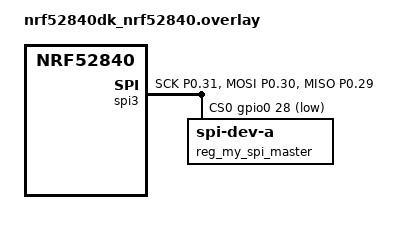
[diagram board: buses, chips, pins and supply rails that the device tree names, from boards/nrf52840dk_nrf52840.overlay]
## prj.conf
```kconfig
CONFIG_GPIO=y

CONFIG_SPI=y
CONFIG_SPI_ASYNC=y
```

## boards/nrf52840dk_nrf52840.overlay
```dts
&pinctrl {
	spi_master_default: spi_master_default {
		group1 {
			psels = <NRF_PSEL(SPIM_SCK, 0, 31)>,
					<NRF_PSEL(SPIM_MOSI, 0, 30)>,
					<NRF_PSEL(SPIM_MISO, 0, 29)>;
		};
	};

	spi_master_sleep: spi_master_sleep {
		group1 {
			psels = <NRF_PSEL(SPIM_SCK, 0, 31)>,
					<NRF_PSEL(SPIM_MOSI, 0, 30)>,
					<NRF_PSEL(SPIM_MISO, 0, 29)>;
			low-power-enable;
		};
	};

};

my_spi_master: &spi3 {
	compatible = "nordic,nrf-spim";
	status = "okay";
	pinctrl-0 = <&spi_master_default>;
	pinctrl-1 = <&spi_master_sleep>;
	pinctrl-names = "default", "sleep";
	cs-gpios = <&gpio0 28 GPIO_ACTIVE_LOW>;
	reg_my_spi_master: spi-dev-a@0 {
		reg = <0>;
	};
};

// By default uart1 will occupy P1.01 and P1.02. In order to make these pins available, disable uart1
&uart1 {
	status="disabled";
};
```

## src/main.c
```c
/*
 * Copyright (c) 2016 Intel Corporation
 *
 * SPDX-License-Identifier: Apache-2.0
 */

#include <zephyr/kernel.h>
#include <zephyr/device.h>
#include <zephyr/devicetree.h>
#include <zephyr/drivers/gpio.h>
#include <zephyr/drivers/spi.h>
#include <zephyr/logging/log.h>
#include "mfrc522.h"


/* 1000 msec = 1 sec */
#define SLEEP_TIME_MS   1000

/* The devicetree node identifier for the "led0" alias. */
#define LED0_NODE DT_ALIAS(led0)

#define MY_SPI_MASTER DT_NODELABEL(my_spi_master)
#define MY_SPI_MASTER_CS_DT_SPEC SPI_CS_GPIOS_DT_SPEC_GET(DT_NODELABEL(reg_my_spi_master))

#define MY_SPI_SLAVE  DT_NODELABEL(my_spi_slave)
LOG_MODULE_REGISTER(my_module, LOG_LEVEL_INF);
// SPI master functionality
const struct device *spi_dev;
//static struct k_poll_signal spi_done_sig = K_POLL_SIGNAL_INITIALIZER(spi_done_sig);
	static uint8_t tx_buffer[2];
	static uint8_t rx_buffer[1];
	static uint8_t tx_r_buffer[1];
	static const uint8_t m_length = 1;
	static volatile bool spi_xfer_done;
	
	const struct spi_buf tx_buf = {
		.buf = tx_buffer,
		.len = sizeof(tx_buffer)
	};
	const struct spi_buf_set tx = {
		.buffers = &tx_buf,
		.count = 1
	};

	struct spi_buf rx_buf = {
		.buf = rx_buffer,
		.len = sizeof(rx_buffer),
	};
	const struct spi_buf_set rx = {
		.buffers = &rx_buf,
		.count = 1
	};

	const struct spi_buf tx_r_buff ={
		.buf = &tx_r_buffer,
		.len = 1
	};

	const struct spi_buf_set tx_r = {
		.buffers = &tx_r_buff,
		.count = 1
	};

static void spi_init(void)
{
	spi_dev = DEVICE_DT_GET(MY_SPI_MASTER);
	if(!device_is_ready(spi_dev)) {
		printk("SPI master device not ready!\n");
	}
	struct gpio_dt_spec spim_cs_gpio = MY_SPI_MASTER_CS_DT_SPEC;
	if(!device_is_ready(spim_cs_gpio.port)){
		printk("SPI master chip select device not ready!\n");
	}
}

static struct spi_config spi_cfg = {
	.operation = SPI_WORD_SET(8) | SPI_TRANSFER_MSB | SPI_MODE_CPOL | SPI_MODE_CPHA,
	.frequency = 4000000,
	.slave = 0,
	.cs = {.gpio = MY_SPI_MASTER_CS_DT_SPEC, .delay = 0},
};

// static int spi_write_test_msg(void)
// {
// 	static uint8_t counter = 0;
// 	static uint8_t tx_buffer[2];
// 	static uint8_t rx_buffer[2];

// 	const struct spi_buf tx_buf = {
// 		.buf = tx_buffer,
// 		.len = sizeof(tx_buffer)
// 	};
// 	const struct spi_buf_set tx = {
// 		.buffers = &tx_buf,
// 		.count = 1
// 	};

// 	struct spi_buf rx_buf = {
// 		.buf = rx_buffer,
// 		.len = sizeof(rx_buffer),
// 	};
// 	const struct spi_buf_set rx = {
// 		.buffers = &rx_buf,
// 		.count = 1
// 	};

// 	// Update the TX buffer with a rolling counter
// 	tx_buffer[0] = counter++;
// 	printk("SPI TX: 0x%.2x, 0x%.2x\n", tx_buffer[0], tx_buffer[1]);

// 	// Reset signal
// 	k_poll_signal_reset(&spi_done_sig);
	
// 	// Start transaction
// 	int error = spi_transceive_signal(spi_dev, &spi_cfg, &tx, &rx, &spi_done_sig);
// 	if(error != 0){
// 		printk("SPI transceive error: %i\n", error);
// 		return error;
// 	}

// 	// Wait for the done signal to be raised and log the rx buffer
// 	int spi_signaled, spi_result;
// 	do{
// 		k_poll_signal_check(&spi_done_sig, &spi_signaled, &spi_result);
// 	} while(spi_signaled == 0);
// 	printk("SPI RX: 0x%.2x, 0x%.2x\n", rx_buffer[0], rx_buffer[1]);
// 	return 0;
// }
/*
// SPI slave functionality
const struct device *spi_slave_dev;
static struct k_poll_signal spi_slave_done_sig = K_POLL_SIGNAL_INITIALIZER(spi_slave_done_sig);

static const struct spi_config spi_slave_cfg = {
	.operation = SPI_WORD_SET(8) | SPI_TRANSFER_MSB |
				 SPI_MODE_CPOL | SPI_MODE_CPHA | SPI_OP_MODE_SLAVE,
	.frequency = 4000000,
	.slave = 0,
};

static void spi_slave_init(void)
{
	spi_slave_dev = DEVICE_DT_GET(MY_SPI_SLAVE);
	if(!device_is_ready(spi_slave_dev)) {
		printk("SPI slave device not ready!\n");
	}
	else{
		printk("Spi slave device ISS ready\n");
	}
}

static uint8_t slave_tx_buffer[2];
static uint8_t slave_rx_buffer[2];
static int spi_slave_write_test_msg(void)
{
	static uint8_t counter = 0;


	const struct spi_buf s_tx_buf = {
		.buf = slave_tx_buffer,
		.len = sizeof(slave_tx_buffer)
	};
	const struct spi_buf_set s_tx = {
		.buffers = &s_tx_buf,
		.count = 1
	};

	struct spi_buf s_rx_buf = {
		.buf = slave_rx_buffer,
		.len = sizeof(slave_rx_buffer),
	};
	const struct spi_buf_set s_rx = {
		.buffers = &s_rx_buf,
		.count = 1
	};

	// Update the TX buffer with a rolling counter
	slave_tx_buffer[1] = counter++;
	printk("SPI SLAVE TX: 0x%.2x, 0x%.2x\n", slave_tx_buffer[0], slave_tx_buffer[1]);

	// Reset signal
	k_poll_signal_reset(&spi_slave_done_sig);
	
	// Start transaction
	int error = spi_transceive_signal(spi_slave_dev, &spi_slave_cfg, &s_tx, &s_rx, &spi_slave_done_sig);
	if(error != 0){
		printk("SPI slave transceive error: %i\n", error);
		return error;
	}
	return 0;
}

static int spi_slave_check_for_message(void)
{
	int signaled, result;
	k_poll_signal_check(&spi_slave_done_sig, &signaled, &result);
	if(signaled != 0){
		return 0;
	}
	else return -1;
}
*/
/*
 * A build error on this line means your board is unsupported.
 * See the sample documentation for information on how to fix this.
 */
static const struct gpio_dt_spec led = GPIO_DT_SPEC_GET(LED0_NODE, gpios);

void PCD_WriteRegister(PCD_Register reg, byte value) {
	// Update the TX buffer with a rolling counter
	tx_buffer[0] = reg & 0x7E; //msb 0 za pisanje
	tx_buffer[1] = value;
	printk("SPI REGISTAR: 0x%.2x, tx value: 0x%.2x\n", tx_buffer[0], tx_buffer[1]);
    // Podešavanje adrese registra

    memset(rx_buffer, 0, m_length);
    // Šaljemo podatke putem SPI

	int error = spi_write(spi_dev, &spi_cfg, &tx);
	if(error != 0){
		printk("SPI write error: %i\n", error);
		return error;
	}
}
void PCD_WriteRegister_long(PCD_Register reg, byte count, byte *values){
		
        tx_buffer[0] = reg & 0x7E;
      
        

	for (byte index = 0; index < count; index++) {
          
		  tx_buffer[1] = values[index];
          spi_write(spi_dev, &spi_cfg, &tx);     //ovoo popravi, ne moze ovako
          
	}
}

byte PCD_ReadRegister(PCD_Register reg){
	tx_r_buffer[0]= (0x80 | (reg & 0x7E));


    spi_write(spi_dev, &spi_cfg, &tx_r);
	//memset(rx_buffer, 0, m_length);
	//printk("register is set for read");
    spi_read(spi_dev, &spi_cfg, &rx);

	return rx_buffer[0];
	
    
}
//ovu funkciju napisi drugacije
void PCD_ReadRegister_long(PCD_Register reg, byte count, byte *values, byte rxAlign){
	if (count == 0) {
		return;
	}
        tx_r_buffer[0] = 0x80 | (reg& 0x7E);				// MSB == 1 is for reading. LSB is not used in address. Datasheet section 8.1.2.3.
		byte index = 0;	
        count--;
    
       spi_write(spi_dev, &spi_cfg, &tx_r);

        if (rxAlign) {		// Only update bit positions rxAlign..7 in values[0]
		// Create bit mask for bit positions rxAlign..7
		byte mask = (0xFF << rxAlign) & 0xFF;
		// Read value and tell that we want to read the same address again.
        memset(rx_buffer, 0, m_length);

         spi_read(spi_dev, &spi_cfg, &rx);

        byte value = rx_buffer[0];
		// Apply mask to both current value of values[0] and the new data in value.
		values[0] = (values[0] & ~mask) | (value & mask);
		index++;
	}

        while (index < count) {
        memset(rx_buffer, 0, m_length);
        spi_read(spi_dev, &spi_cfg, &rx);
        values[index] = rx_buffer[0];
        index++;
	}
        memset(rx_buffer, 0, m_length);
     
        uint8_t _reg = 0x00;
       spi_read(spi_dev, &spi_cfg, &rx);

        values[index] = rx_buffer[0];

}
void PCD_ClearRegisterBitMask(	PCD_Register reg,	///< The register to update. One of the PCD_Register enums.
				byte mask			///< The bits to clear.
									  ) {
	byte tmp;
	tmp = PCD_ReadRegister(reg);
	PCD_WriteRegister(reg, tmp & (~mask));		// clear bit mask
} // End PCD_ClearRegisterBitMask()

void PCD_SetRegisterBitMask(	PCD_Register reg,	///< The register to update. One of the PCD_Register enums.
				byte mask			///< The bits to set.
									) { 
	byte tmp;
	tmp = PCD_ReadRegister(reg);
	PCD_WriteRegister(reg, tmp | mask);			// set bit mask

} // End PCD_SetRegisterBitMask()


StatusCode PCD_CalculateCRC(	byte *data,		///< In: Pointer to the data to transfer to the FIFO for CRC calculation.
                                byte length,	///< In: The number of bytes to transfer.
                                byte *result	///< Out: Pointer to result buffer. Result is written to result[0..1], low byte first.
) {
	PCD_WriteRegister(CommandReg, PCD_Idle);		// Stop any active command.
	PCD_WriteRegister(DivIrqReg, 0x04);				// Clear the CRCIRq interrupt request bit
	PCD_WriteRegister(FIFOLevelReg, 0x80);			// FlushBuffer = 1, FIFO initialization
	PCD_WriteRegister_long(FIFODataReg, length, data);	// Write data to the FIFO
	PCD_WriteRegister(CommandReg, PCD_CalcCRC);		// Start the calculation
	
	// Wait for the CRC calculation to complete. Each iteration of the while-loop takes 17.73μs.
	// TODO check/modify for other architectures than Arduino Uno 16bit

	// Wait for the CRC calculation to complete. Each iteration of the while-loop takes 17.73us.
	for (uint16_t i = 5000; i > 0; i--) {
		// DivIrqReg[7..0] bits are: Set2 reserved reserved MfinActIRq reserved CRCIRq reserved reserved
		byte n = PCD_ReadRegister(DivIrqReg);
		if (n & 0x04) {									// CRCIRq bit set - calculation done
			PCD_WriteRegister(CommandReg, PCD_Idle);	// Stop calculating CRC for new content in the FIFO.
			// Transfer the result from the registers to the result buffer
			result[0] = PCD_ReadRegister(CRCResultRegL);
			result[1] = PCD_ReadRegister(CRCResultRegH);
			return STATUS_OK;
		}
	}
	// 89ms passed and nothing happend. Communication with the MFRC522 might be down.
	return STATUS_TIMEOUT;
} // End PCD_CalculateCRC()

void PCD_AntennaOn() {
	uint8_t value = PCD_ReadRegister(TxControlReg);
	if ((value & 0x03) != 0x03) {
		PCD_WriteRegister(TxControlReg, value | 0x03);
                value = PCD_ReadRegister(TxControlReg);
	}
} // End PCD_AntennaOn()
StatusCode PICC_RequestA(byte *bufferATQA,	///< The buffer to store the ATQA (Answer to request) in
                         byte *bufferSize	///< Buffer size, at least two bytes. Also number of bytes returned if STATUS_OK.
			) {
	return PICC_REQA_or_WUPA(PICC_CMD_REQA, bufferATQA, bufferSize);
} // End PICC_RequestA()
void printf_value(uint8_t count, uint8_t *values){
    for (uint8_t index = 0; index < count; index++) {
        printk("%p - %x\n",&values[index],values[index]);
    }
}
StatusCode PCD_CommunicateWithPICC(	byte command,		///< The command to execute. One of the PCD_Command enums.
                                        byte waitIRq,		///< The bits in the ComIrqReg register that signals successful completion of the command.
                                        byte *sendData,		///< Pointer to the data to transfer to the FIFO.
                                        byte sendLen,		///< Number of bytes to transfer to the FIFO.
                                        byte *backData,		///< nullptr or pointer to buffer if data should be read back after executing the command.
                                        byte *backLen,		///< In: Max number of bytes to write to *backData. Out: The number of bytes returned.
                                        byte *validBits,	///< In/Out: The number of valid bits in the last byte. 0 for 8 valid bits.
                                        byte rxAlign,		///< In: Defines the bit position in backData[0] for the first bit received. Default 0.
                                        bool checkCRC		///< In: True => The last two bytes of the response is assumed to be a CRC_A that must be validated.
 ) {
	// Prepare values for BitFramingReg
	byte txLastBits = validBits ? *validBits : 0;
	byte bitFraming = (rxAlign << 4) + txLastBits;		// RxAlign = BitFramingReg[6..4]. TxLastBits = BitFramingReg[2..0]
	
	PCD_WriteRegister(CommandReg, PCD_Idle);			// Stop any active command.
	byte mcmd = PCD_ReadRegister(CommandReg);
        PCD_WriteRegister(ComIrqReg, 0x7F);					// Clear all seven interrupt request bits
        PCD_WriteRegister(FIFOLevelReg, 0x80);				// FlushBuffer = 1, FIFO initialization
        PCD_WriteRegister_long(FIFODataReg, sendLen, sendData);	// Write sendData to the FIFO
        PCD_WriteRegister(BitFramingReg, bitFraming);		// Bit adjustments
        PCD_WriteRegister(CommandReg, command);				// Execute the command	
        if (command == PCD_Transceive) {
		PCD_SetRegisterBitMask(BitFramingReg, 0x80);	// StartSend=1, transmission of data starts
	}
	
	// Wait for the command to complete.
	// In PCD_Init() we set the TAuto flag in TModeReg. This means the timer automatically starts when the PCD stops transmitting.
	// Each iteration of the do-while-loop takes 17.86μs.
	// TODO check/modify for other architectures than Arduino Uno 16bit
	uint16_t i;
	for (i = 2000; i > 0; i--) {

		byte n = PCD_ReadRegister(ComIrqReg);	// ComIrqReg[7..0] bits are: Set1 TxIRq RxIRq IdleIRq HiAlertIRq LoAlertIRq ErrIRq TimerIRq
//		printk("n:%x",n);
                if (n & waitIRq) {					// One of the interrupts that signal success has been set.
                        break;
		}
		if (n & 0x01) {						// Timer interrupt - nothing received in 25ms
                        return STATUS_TIMEOUT;
		}
	}
	// 35.7ms and nothing happend. Communication with the MFRC522 might be down.
	if (i == 0) {
        printk("STATUS_TIMEOUT2\n");
		return STATUS_TIMEOUT;
	}
	
	// Stop now if any errors except collisions were detected.
	byte errorRegValue = PCD_ReadRegister(ErrorReg); // ErrorReg[7..0] bits are: WrErr TempErr reserved BufferOvfl CollErr CRCErr ParityErr ProtocolErr
	if (errorRegValue & 0x13) {	 // BufferOvfl ParityErr ProtocolErr
		return STATUS_ERROR;
	}
  
	byte _validBits = 0;
	
	// If the caller wants data back, get it from the MFRC522.
	if (backData && backLen) {
		byte n = PCD_ReadRegister(FIFOLevelReg);	// Number of bytes in the FIFO
		if (n > *backLen) {
			return STATUS_NO_ROOM;
		}
		*backLen = n;											// Number of bytes returned
		PCD_ReadRegister_long(FIFODataReg, n, backData, rxAlign);	// Get received data from FIFO
		_validBits = PCD_ReadRegister(ControlReg) & 0x07;		// RxLastBits[2:0] indicates the number of valid bits in the last received byte. If this value is 000b, the whole byte is valid.
		if (validBits) {
			*validBits = _validBits;
		}
	}
	
	// Tell about collisions
	if (errorRegValue & 0x08) {		// CollErr
		return STATUS_COLLISION;
	}
	
	// Perform CRC_A validation if requested.
	if (backData && backLen && checkCRC) {
		// In this case a MIFARE Classic NAK is not OK.
		if (*backLen == 1 && _validBits == 4) {
			return STATUS_MIFARE_NACK;
		}
		// We need at least the CRC_A value and all 8 bits of the last byte must be received.
		if (*backLen < 2 || _validBits != 0) {
			return STATUS_CRC_WRONG;
		}
		// Verify CRC_A - do our own calculation and store the control in controlBuffer.
		byte controlBuffer[2];
		StatusCode status = PCD_CalculateCRC(&backData[0], *backLen - 2, &controlBuffer[0]);
		if (status != STATUS_OK) {
			return status;
		}
		if ((backData[*backLen - 2] != controlBuffer[0]) || (backData[*backLen - 1] != controlBuffer[1])) {
			return STATUS_CRC_WRONG;
		}
	}
	
	return STATUS_OK;
} // End PCD_CommunicateWithPICC()

StatusCode PCD_TransceiveData(	byte *sendData,		///< Pointer to the data to transfer to the FIFO.
                                        byte sendLen,		///< Number of bytes to transfer to the FIFO.
                                        byte *backData,		///< nullptr or pointer to buffer if data should be read back after executing the command.
                                        byte *backLen,		///< In: Max number of bytes to write to *backData. Out: The number of bytes returned.
                                        byte *validBits,	///< In/Out: The number of valid bits in the last byte. 0 for 8 valid bits. Default nullptr.
                                        byte rxAlign,		///< In: Defines the bit position in backData[0] for the first bit received. Default 0.
                                        bool checkCRC		///< In: True => The last two bytes of the response is assumed to be a CRC_A that must be validated.
 ) {
	byte waitIRq = 0x30;		// RxIRq and IdleIRq
	return PCD_CommunicateWithPICC(PCD_Transceive, waitIRq, sendData, sendLen, backData, backLen, validBits, rxAlign, checkCRC);
} // End PCD_TransceiveData()
StatusCode PICC_REQA_or_WUPA(	byte command, 		///< The command to send - PICC_CMD_REQA or PICC_CMD_WUPA
				byte *bufferATQA,	///< The buffer to store the ATQA (Answer to request) in
				byte *bufferSize	///< Buffer size, at least two bytes. Also number of bytes returned if STATUS_OK.
) {
	byte validBits;
	StatusCode status;
	
	if (bufferATQA == NULL || *bufferSize < 2) {	// The ATQA response is 2 bytes long.
		return STATUS_NO_ROOM;
	}
	PCD_ClearRegisterBitMask(CollReg, 0x80);		// ValuesAfterColl=1 => Bits received after collision are cleared.
	validBits = 7;									// For REQA and WUPA we need the short frame format - transmit only 7 bits of the last (and only) byte. TxLastBits = BitFramingReg[2..0]
	status = PCD_TransceiveData(&command, 1, bufferATQA, bufferSize, &validBits,0,false);
	if (status != STATUS_OK) {
		return status;
	}
	if (*bufferSize != 2 || validBits != 0) {		// ATQA must be exactly 16 bits.
		return STATUS_ERROR;
	}
	return STATUS_OK;
} // End PICC_REQA_or_WUPA()
 
bool PICC_IsNewCardPresent() {
	byte bufferATQA[2];
	byte bufferSize = sizeof(bufferATQA);

	// Reset baud rates
	PCD_WriteRegister(TxModeReg, 0x00);
	PCD_WriteRegister(RxModeReg, 0x00);
	// Reset ModWidthReg
	PCD_WriteRegister(ModWidthReg, 0x26);
	StatusCode result = PICC_RequestA(bufferATQA, &bufferSize);
    printk("result of new card:%x\n",result);
	return (result == STATUS_OK || result == STATUS_COLLISION);
} // End PICC_IsNewCardPresent()
void PCD_Reset() {
	PCD_WriteRegister(CommandReg, PCD_SoftReset);
	uint8_t count = 0;
	do {
		// Wait for the PowerDown bit in CommandReg to be cleared (max 3x50ms)
	   k_msleep(50);
	} while ((PCD_ReadRegister(CommandReg) & (1 << 4)) && (++count) < 3);
} // End PCD_Reset()
bool PCD_PerformSelfTest() {
	// This follows directly the steps outlined in 16.1.1
	// 1. Perform a soft reset.
	PCD_Reset();
	
	// 2. Clear the internal buffer by writing 25 bytes of 00h
	byte ZEROES[25] = {0x00};
	PCD_WriteRegister(FIFOLevelReg, 0x80);		// flush the FIFO buffer

	PCD_WriteRegister_long(FIFODataReg, 25, ZEROES);	// write 25 bytes of 00h to FIFO

	PCD_WriteRegister(CommandReg, PCD_Mem);		// transfer to internal buffer
	
	// 3. Enable self-test
	PCD_WriteRegister(AutoTestReg, 0x09);
	
	// 4. Write 00h to FIFO buffer
	PCD_WriteRegister(FIFODataReg, 0x00);
	
	// 5. Start self-test by issuing the CalcCRC command
	PCD_WriteRegister(CommandReg, PCD_CalcCRC);
	
	// 6. Wait for self-test to complete
	byte n;
	for (uint8_t i = 0; i < 0xFF; i++) {
		// The datasheet does not specify exact completion condition except
		// that FIFO buffer should contain 64 bytes.
		// While selftest is initiated by CalcCRC command
		// it behaves differently from normal CRC computation,
		// so one can't reliably use DivIrqReg to check for completion.
		// It is reported that some devices does not trigger CRCIRq flag
		// during selftest.
		n = PCD_ReadRegister(FIFOLevelReg);
		if (n >= 64) {
                printk("nnn:%x",n);
                
			break;
		}
	}
	PCD_WriteRegister(CommandReg, PCD_Idle);		// Stop calculating CRC for new content in the FIFO.
	
	// 7. Read out resulting 64 bytes from the FIFO buffer.
	byte result[64];
	PCD_ReadRegister_long(FIFODataReg, 64, result, 0);
	
	// Auto self-test done
	// Reset AutoTestReg register to be 0 again. Required for normal operation.
	PCD_WriteRegister(AutoTestReg, 0x00);
	
	// Determine firmware version (see section 9.3.4.8 in spec)
	byte version = PCD_ReadRegister(VersionReg);
	
	// Pick the appropriate reference values
	const byte *reference;
	printk("version:%x",version);
	
	// Verify that the results match up to our expectations
	for (uint8_t i = 0; i < 64; i++) {
printk("result[%d]:%x",i,result[i]);

//		if (result[i] != pgm_read_byte(&(reference[i]))) {
//			return false;
//		}
	}
	printk("Test passed; all is good");
	// Test passed; all is good.
	return true;
} // End PCD_PerformSelfTest()


int main(void)
{
	int ret;

	if (!device_is_ready(led.port)) {
		return 0;
	}

	ret = gpio_pin_configure_dt(&led, GPIO_OUTPUT_ACTIVE);
	if (ret < 0) {
		return 0;
	}

	spi_init();

	//PCD_Reset();
    
     PCD_PerformSelfTest();
//   uint8_t v = PCD_ReadRegister(VersionReg);
//       LOG_INF("version:%x",v);
// 	// Reset baud rates
// 	PCD_WriteRegister(TxModeReg, 0x00);
// 	PCD_WriteRegister(RxModeReg, 0x00);
// 	// Reset ModWidthReg
// 	PCD_WriteRegister(ModWidthReg, 0x26);
// 	// When communicating with a PICC we need a timeout if something goes wrong.
// 	// f_timer = 13.56 MHz / (2*TPreScaler+1) where TPreScaler = [TPrescaler_Hi:TPrescaler_Lo].
// 	// TPrescaler_Hi are the four low bits in TModeReg. TPrescaler_Lo is TPrescalerReg.
// 	PCD_WriteRegister(TModeReg, 0x80);			// TAuto=1; timer starts automatically at the end of the transmission in all communication modes at all speeds
// 	v=PCD_ReadRegister(TModeReg);
//     LOG_INF("TModeReg:%x",v);
//     PCD_WriteRegister(TPrescalerReg, 0xA9);		// TPreScaler = TModeReg[3..0]:TPrescalerReg, ie 0x0A9 = 169 => f_timer=40kHz, ie a timer period of 25μs.
// 	v=PCD_ReadRegister(TPrescalerReg);
//     LOG_INF("TPrescalerReg:%x",v);
//     PCD_WriteRegister(TPrescalerReg, 0xA9);		// TPreScaler = TModeReg[3..0]:TPrescalerReg, ie 0x0A9 = 169 => f_timer=40kHz, ie a timer period of 25μs.
// 	v=PCD_ReadRegister(TPrescalerReg);
//     LOG_INF("TPrescalerReg:%x",v); 
//     PCD_WriteRegister(TReloadRegH, 0x04);		// Reload timer with 0x3E8 = 1000, ie 25ms before timeout.
// 	PCD_WriteRegister(TReloadRegL, 0xE8);	
// 	PCD_WriteRegister(TxASKReg, 0x40);		// Default 0x00. Force a 100 % ASK modulation independent of the  register setting
// 	PCD_WriteRegister(ModeReg, 0x3D);		// Default 0x3F. Set the preset value for the CRC coprocessor for the CalcCRC command to 0x6363 (ISO 14443-3 part 6.2.4)
// 	PCD_AntennaOn();
//     //NRF_LOG_FLUSH();
    

#if 0
	spi_slave_init();

	printk("SPI master/slave example started\n");
	
	spi_slave_write_test_msg();

	while (1) {
		spi_write_test_msg();
		ret = gpio_pin_toggle_dt(&led);
		if (ret < 0) {
			return 0;
		}
		k_msleep(SLEEP_TIME_MS);

		if(spi_slave_check_for_message() == 0){
			// Print the last received data
			printk("SPI SLAVE RX: 0x%.2x, 0x%.2x\n", slave_rx_buffer[0], slave_rx_buffer[1]);
			
			// Prepare the next SPI slave transaction
			spi_slave_write_test_msg();
		}
	}
#endif
	return 0;
}
```

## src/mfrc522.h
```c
#pragma once

#include <string.h>
#include <stdint.h>
#include <stdbool.h>
#if 0
#include "nrf_drv_spi.h"
#include "app_error.h"
#include "nrf_log.h"
#include "nrf_log_ctrl.h"
#include "nrf_log_default_backends.h"
#include "nrf_delay.h"
#include "nrf_gpio.h"
#endif
typedef uint8_t byte;
typedef uint8_t PCD_Register;
typedef uint8_t PCD_Command;
typedef uint8_t PCD_RxGain;
typedef uint8_t PICC_Command;
typedef uint8_t PICC_Type;
typedef uint8_t StatusCode;
typedef uint8_t MIFARE_Misc; 
		// Page 0: Command and status
		//						  0x00			// reserved for future use
#define		CommandReg				(0x01 << 1)// starts and stops command execution
#define		ComIEnReg				(0x02 << 1)// enable and disable interrupt request control bits
#define		DivIEnReg				(0x03 << 1)// enable and disable interrupt request control bits
#define		ComIrqReg				(0x04 << 1)// interrupt request bits
#define		DivIrqReg				(0x05 << 1)// interrupt request bits
#define		ErrorReg				(0x06 << 1)// error bits showing the error status of the last command executed 
#define		Status1Reg				(0x07 << 1)// communication status bits
#define		Status2Reg				(0x08 << 1)// receiver and transmitter status bits
#define		FIFODataReg				(0x09 << 1)// input and output of 64 byte FIFO buffer
#define		FIFOLevelReg                            (0x0A << 1)// number of bytes stored in the FIFO buffer
#define		WaterLevelReg                           (0x0B << 1)// level for FIFO underflow and overflow warning
#define		ControlReg				(0x0C << 1)// miscellaneous control registers
#define		BitFramingReg                           (0x0D << 1)// adjustments for bit-oriented frames
#define		CollReg					(0x0E << 1)// bit position of the first bit-collision detected on the RF interface
		//						  0x0F			// reserved for future use
		
		// Page 1: Command
		// 						  0x10			// reserved for future use
#define		ModeReg					(0x11 << 1)// defines general modes for transmitting and receiving 
#define		TxModeReg				(0x12 << 1)// defines transmission data rate and framing
#define		RxModeReg				(0x13 << 1)// defines reception data rate and framing
#define		TxControlReg                            (0x14 << 1)// controls the logical behavior of the antenna driver pins TX1 and TX2
#define		TxASKReg				(0x15 << 1)// controls the setting of the transmission modulation
#define		TxSelReg				(0x16 << 1)// selects the internal sources for the antenna driver
#define		RxSelReg				(0x17 << 1)// selects internal receiver settings
#define		RxThresholdReg                          (0x18 << 1)// selects thresholds for the bit decoder
#define		DemodReg				(0x19 << 1)// defines demodulator settings
		// 						  0x1A			// reserved for future use
		// 						  0x1B			// reserved for future use
#define		MfTxReg					(0x1C << 1)// controls some MIFARE communication transmit parameters
#define		MfRxReg					(0x1D << 1)// controls some MIFARE communication receive parameters
		// 						  0x1E			// reserved for future use
#define		SerialSpeedReg                          (0x1F << 1)// selects the speed of the serial UART interface
		
		// Page 2: Configuration
		// 						  0x20			// reserved for future use
#define		CRCResultRegH                           (0x21 << 1)// shows the MSB and LSB values of the CRC calculation
#define		CRCResultRegL                           (0x22 << 1)
		// 						  0x23			// reserved for future use
#define		ModWidthReg				(0x24 << 1)// controls the ModWidth setting?
		// 						  0x25			// reserved for future use
#define		RFCfgReg				(0x26 << 1)// configures the receiver gain
#define		GsNReg					(0x27 << 1)// selects the conductance of the antenna driver pins TX1 and TX2 for modulation 
#define		CWGsPReg				(0x28 << 1)// defines the conductance of the p-driver output during periods of no modulation
#define		ModGsPReg				(0x29 << 1)// defines the conductance of the p-driver output during periods of modulation
#define		TModeReg				(0x2A << 1)// defines settings for the internal timer
#define		TPrescalerReg                           (0x2B << 1)// the lower 8 bits of the TPrescaler value. The 4 high bits are in TModeReg.
#define         TReloadRegH                             (0x2C << 1)//1 defines the 16-bit timer reload value
#define		TReloadRegL				(0x2D << 1)//2
#define		TCounterValueRegH                       (0x2E << 1)// shows the 16-bit timer value
#define		TCounterValueRegL                       (0x2F << 1)
		
		// Page 3: Test Registers
		// 						  0x30			// reserved for future use
#define		TestSel1Reg				(0x31 << 1)// general test signal configuration
#define		TestSel2Reg				(0x32 << 1)// general test signal configuration
#define		TestPinEnReg                            (0x33 << 1)// enables pin output driver on pins D1 to D7
#define		TestPinValueReg                         (0x34 << 1)// defines the values for D1 to D7 when it is used as an I/O bus
#define		TestBusReg				(0x35 << 1)// shows the status of the internal test bus
#define		AutoTestReg				(0x36 << 1)// controls the digital self-test
#define		VersionReg				(0x37 << 1)// shows the software version
#define		AnalogTestReg                           (0x38 << 1)// controls the pins AUX1 and AUX2
#define		TestDAC1Reg				(0x39 << 1)// defines the test value for TestDAC1
#define		TestDAC2Reg				(0x3A << 1)// defines the test value for TestDAC2
#define		TestADCReg				(0x3B << 1)		// shows the value of ADC I and Q channels
		// 						  0x3C			// reserved for production tests
		// 						  0x3D			// reserved for production tests
		// 						  0x3E			// reserved for production tests
		// 						  0x3F			// reserved for production tests


#define		PCD_Idle				(0x00)	// no action, cancels current command execution
#define         PCD_Mem					(0x01)	// stores 25 bytes into the internal buffer
#define		PCD_GenerateRandomID                    (0x02)	// generates a 10-byte random ID number
#define		PCD_CalcCRC				(0x03)	// activates the CRC coprocessor or performs a self-test
#define		PCD_Transmit                            (0x04)	// transmits data from the FIFO buffer
#define		PCD_NoCmdChange                         (0x07)	// no command change, can be used to modify the CommandReg register bits without affecting the command, for example, the PowerDown bit
#define		PCD_Receive				(0x08)	// activates the receiver circuits
#define		PCD_Transceive                          (0x0C)	// transmits data from FIFO buffer to antenna and automatically activates the receiver after transmission
#define		PCD_MFAuthent                           (0x0E)	// performs the MIFARE standard authentication as a reader
#define		PCD_SoftReset                           (0x0F)		// resets the MFRC522



#define		RxGain_18dB				(0x00 << 4)// 000b - 18 dB, minimum
#define		RxGain_23dB				(0x01 << 4)// 001b - 23 dB
#define		RxGain_18dB_2                           (0x02 << 4)// 010b - 18 dB, it seems 010b is a duplicate for 000b
#define		RxGain_23dB_2                           (0x03 << 4)// 011b - 23 dB, it seems 011b is a duplicate for 001b
#define		RxGain_33dB				(0x04 << 4)// 100b - 33 dB, average, and typical default
#define		RxGain_38dB				(0x05 << 4)// 101b - 38 dB
#define		RxGain_43dB				(0x06 << 4)// 110b - 43 dB
#define		RxGain_48dB				(0x07 << 4)// 111b - 48 dB, maximum
#define		RxGain_min				(0x00 << 4)// 000b - 18 dB, minimum, convenience for RxGain_18dB
#define		RxGain_avg				(0x04 << 4)// 100b - 33 dB, average, convenience for RxGain_33dB
#define		RxGain_max				(0x07 << 4)		// 111b - 48 dB, maximum, convenience for RxGain_48dB

#define         PICC_CMD_REQA			(0x26)	// REQuest command, Type A. Invites PICCs in state IDLE to go to READY and prepare for anticollision or selection. 7 bit frame.
#define		PICC_CMD_WUPA			(0x52)	// Wake-UP command, Type A. Invites PICCs in state IDLE and HALT to go to READY(*) and prepare for anticollision or selection. 7 bit frame.
#define		PICC_CMD_CT			(0x88)	// Cascade Tag. Not really a command, but used during anti collision.
#define		PICC_CMD_SEL_CL1		(0x93)	// Anti collision/Select, Cascade Level 1
#define		PICC_CMD_SEL_CL2		(0x95)	// Anti collision/Select, Cascade Level 2
#define		PICC_CMD_SEL_CL3		(0x97)	// Anti collision/Select, Cascade Level 3
#define		PICC_CMD_HLTA			(0x50)	// HaLT command, Type A. Instructs an ACTIVE PICC to go to state HALT.
#define		PICC_CMD_RATS           (0xE0)     // Request command for Answer To Reset.
// The commands used for MIFARE Classic (from http://www.mouser.com/ds/2/302/MF1S503x-89574.pdf, Section 9)
// Use PCD_MFAuthent to authenticate access to a sector, then use these commands to read/write/modify the blocks on the sector.
// The read/write commands can also be used for MIFARE Ultralight.
#define		PICC_CMD_MF_AUTH_KEY_A	(0x60)	// Perform authentication with Key A
#define		PICC_CMD_MF_AUTH_KEY_B	(0x61)	// Perform authentication with Key B
#define		PICC_CMD_MF_READ		(0x30)	// Reads one 16 byte block from the authenticated sector of the PICC. Also used for MIFARE Ultralight.
#define		PICC_CMD_MF_WRITE		(0xA0)	// Writes one 16 byte block to the authenticated sector of the PICC. Called "COMPATIBILITY WRITE" for MIFARE Ultralight.
#define		PICC_CMD_MF_DECREMENT	(0xC0)	// Decrements the contents of a block and stores the result in the internal data register.
#define	PICC_CMD_MF_INCREMENT           (0xC1)	// Increments the contents of a block and stores the result in the internal data register.
#define	PICC_CMD_MF_RESTORE		(0xC2)	// Reads the contents of a block into the internal data register.
#define	PICC_CMD_MF_TRANSFER            (0xB0)	// Writes the contents of the internal data register to a block.
        // The commands used for MIFARE Ultralight (from http://www.nxp.com/documents/data_sheet/MF0ICU1.pdf, Section 8.6)
        // The PICC_CMD_MF_READ and PICC_CMD_MF_WRITE can also be used for MIFARE Ultralight.
#define	PICC_CMD_UL_WRITE		(0xA2)		// Writes one 4 byte page to the PICC.
	
#define PICC_TYPE_UNKNOWN		(0x00)
#define	PICC_TYPE_ISO_14443_4           (0x01)// PICC compliant with ISO/IEC 14443-4 
#define	PICC_TYPE_ISO_18092		(0x02) 	// PICC compliant with ISO/IEC 18092 (NFC)
#define	PICC_TYPE_MIFARE_MINI           (0x03)// MIFARE Classic protocol, 320 bytes
#define	PICC_TYPE_MIFARE_1K		(0x04)// MIFARE Classic protocol, 1KB
#define	PICC_TYPE_MIFARE_4K		(0x05)// MIFARE Classic protocol, 4KB
#define	PICC_TYPE_MIFARE_UL		(0x06)// MIFARE Ultralight or Ultralight C
#define	PICC_TYPE_MIFARE_PLUS           (0x07)// MIFARE Plus
#define	PICC_TYPE_MIFARE_DESFIRE        (0x08)// MIFARE DESFire
#define	PICC_TYPE_TNP3XXX		(0x09)// Only mentioned in NXP AN 10833 MIFARE Type Identification Procedure
#define	PICC_TYPE_NOT_COMPLETE          (0xff)	// SAK indicates UID is not complete.

#define	STATUS_OK			(0x00)// Success
#define	STATUS_ERROR			(0x01)// Error in communication
#define	STATUS_COLLISION		(0x02)// Collission detected
#define	STATUS_TIMEOUT			(0x03)// Timeout in communication.
#define	STATUS_NO_ROOM			(0x04)// A buffer is not big enough.
#define	STATUS_INTERNAL_ERROR           (0x05)// Internal error in the code. Should not happen ;-)
#define	STATUS_INVALID			(0x06)// Invalid argument.
#define	STATUS_CRC_WRONG		(0x07)// The CRC_A does not match
#define	STATUS_MIFARE_NACK		(0xff)	// A MIFARE PICC responded with NAK.

#define		MF_ACK					(0xA)		// The MIFARE Classic uses a 4 bit ACK/NAK. Any other value than 0xA is NAK.
#define		MF_KEY_SIZE				(6)			// A Mifare Crypto1 key is 6 bytes.
// A struct used for passing the UID of a PICC.
typedef struct {
        byte		size;			// Number of bytes in the UID. 4, 7 or 10.
        byte		uidByte[10];
        byte		sak;			// The SAK (Select acknowledge) byte returned from the PICC after successful selection.
} Uid;

// A struct used for passing a MIFARE Crypto1 key
typedef struct {
        byte		keyByte[MF_KEY_SIZE];
} MIFARE_Key;
/////////////////////////////////////////////////////////////////////////////////////
// Basic interface functions for communicating with the MFRC522
/////////////////////////////////////////////////////////////////////////////////////
void PCD_WriteRegister(PCD_Register reg, byte value);
void PCD_WriteRegister_long(PCD_Register reg, byte count, byte *values);
byte PCD_ReadRegister(PCD_Register reg);
void PCD_ReadRegister_long(PCD_Register reg, byte count, byte *values, byte rxAlign); //TODO rxAlign = 0
void PCD_SetRegisterBitMask(PCD_Register reg, byte mask);
void PCD_ClearRegisterBitMask(PCD_Register reg, byte mask);
StatusCode PCD_CalculateCRC(byte *data, byte length, byte *result);
/////////////////////////////////////////////////////////////////////////////////////
// Functions for manipulating the MFRC522
/////////////////////////////////////////////////////////////////////////////////////
void PCD_Init();
void PCD_Reset();
void PCD_AntennaOn();
void PCD_AntennaOff();
byte PCD_GetAntennaGain();
void PCD_SetAntennaGain(byte mask);
bool PCD_PerformSelfTest();

/////////////////////////////////////////////////////////////////////////////////////
// Power control functions
/////////////////////////////////////////////////////////////////////////////////////
void PCD_SoftPowerDown();
void PCD_SoftPowerUp();
/////////////////////////////////////////////////////////////////////////////////////
// Functions for communicating with PICCs
/////////////////////////////////////////////////////////////////////////////////////
StatusCode PCD_TransceiveData(byte *sendData, byte sendLen, byte *backData, byte *backLen, byte *validBits, byte rxAlign, bool checkCRC); // TODO eclip
StatusCode PCD_CommunicateWithPICC(byte command, byte waitIRq, byte *sendData, byte sendLen, byte *backData, byte *backLen, byte *validBits, byte rxAlign, bool checkCRC); //TODO eclip
StatusCode PICC_RequestA(byte *bufferATQA, byte *bufferSize);
StatusCode PICC_WakeupA(byte *bufferATQA, byte *bufferSize);
StatusCode PICC_REQA_or_WUPA(byte command, byte *bufferATQA, byte *bufferSize);
StatusCode PICC_Select(Uid *uid, byte validBits); //TODO eclip
StatusCode PICC_HaltA();

/////////////////////////////////////////////////////////////////////////////////////
// Convenience functions - does not add extra functionality
/////////////////////////////////////////////////////////////////////////////////////
bool PICC_IsNewCardPresent();
bool PICC_ReadCardSerial();

// TODO: ovo treba nekako zamjeniti za ncs
// static   void spi_event_handler(nrf_drv_spi_evt_t const * p_event,void *p_context);
static   uint8_t spi_transmit(uint8_t data);
static   void mfrc522_write(uint8_t reg, uint8_t data);
static   uint8_t mfrc522_read(uint8_t reg);
void mfrc522_init();
void mfrc522_reset();
```
